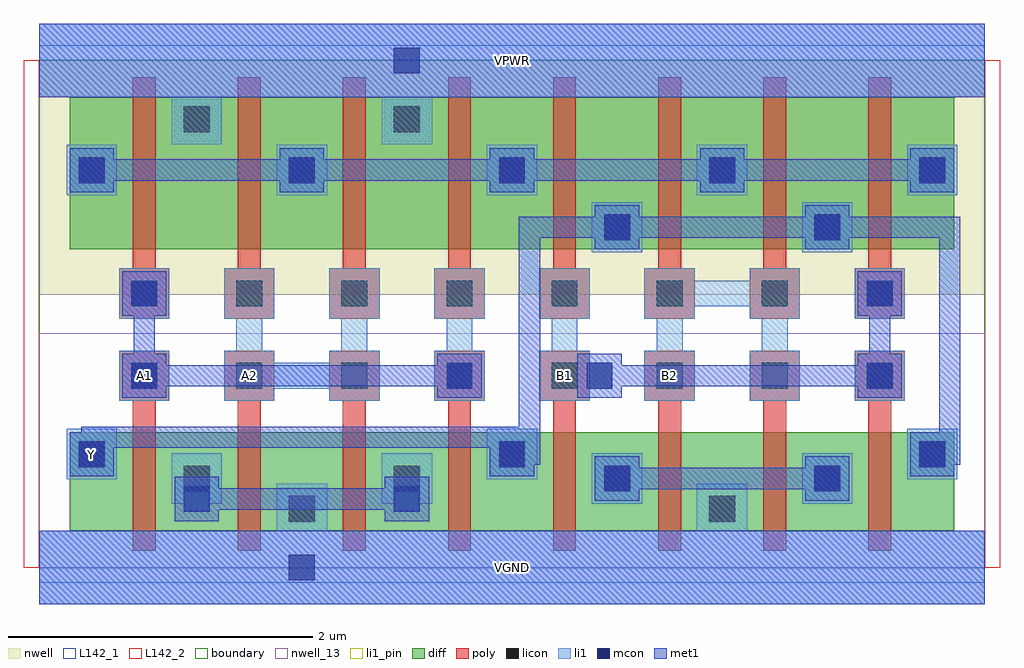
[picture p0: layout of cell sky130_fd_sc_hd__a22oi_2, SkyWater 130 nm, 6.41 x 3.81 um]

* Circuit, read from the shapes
.subckt sky130_fd_sc_hd__a22oi_2 A1 A2 B1 B2 VGND VPWR Y
XM1 n1 A1 Y VSUBS sky130_fd_pr__nfet_01v8 w=0.65 l=0.15 m=2
XM2 VGND A2 n1 VSUBS sky130_fd_pr__nfet_01v8 w=0.65 l=0.15 m=2
XM3 n2 B1 Y VSUBS sky130_fd_pr__nfet_01v8 w=0.65 l=0.15 m=2
XM4 VGND B2 n2 VSUBS sky130_fd_pr__nfet_01v8 w=0.65 l=0.15 m=2
XM5 VPWR A1 n3 n4 sky130_fd_pr__pfet_01v8 w=1 l=0.15 m=2
XM6 n3 A2 VPWR n4 sky130_fd_pr__pfet_01v8 w=1 l=0.15 m=2
XM7 Y B1 n3 n4 sky130_fd_pr__pfet_01v8 w=1 l=0.15 m=2
XM8 n3 B2 Y n4 sky130_fd_pr__pfet_01v8 w=1 l=0.15 m=2
.ends

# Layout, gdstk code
import gdstk
lib = gdstk.Library(unit=1e-6, precision=1e-09)
def R(c, l, rs):  # rectangles x0, y0, x1, y1
    for r in rs: c.add(gdstk.rectangle(r[:2], r[2:], *l))
def A(c, l, x, y, w, h, nx, ny, dx, dy):  # array of equal rectangles
    R(c, l, [(x+i*dx, y+j*dy, x+i*dx+w, y+j*dy+h) for i in range(nx) for j in range(ny)])
def P(c, l, *ps):  # polygons
    for p in ps: c.add(gdstk.Polygon(p, *l))
nwell_13 = (64, 13)
nwell = (64, 20)
diff = (65, 20)
poly = (66, 20)
licon = (66, 44)
li1_pin = (67, 16)
li1 = (67, 20)
mcon = (67, 44)
met1 = (68, 20)
L142_1 = (142, 1)
L142_2 = (142, 2)
boundary = (235, 4)

sky130_fd_sc_hd__a22oi_2 = lib.new_cell('sky130_fd_sc_hd__a22oi_2')
R(sky130_fd_sc_hd__a22oi_2, nwell_13, [(0,0,6.21,1.54)])
R(sky130_fd_sc_hd__a22oi_2, nwell, [(0,1.79,6.21,3.33)])
A(sky130_fd_sc_hd__a22oi_2, diff, 0.615, 0.24, 0.69, 0.65, 7, 1, 0.69, 0)
A(sky130_fd_sc_hd__a22oi_2, diff, 0.615, 2.09, 0.69, 1, 7, 1, 0.69, 0)
R(sky130_fd_sc_hd__a22oi_2, diff, [(0.2,0.24,6.01,0.89), (0.2,0.24,0.615,0.89), (5.445,0.24,6.01,0.89), (0.2,2.09,6.01,3.09), (0.2,2.09,0.615,3.09), (5.445,2.09,6.01,3.09)])
P(sky130_fd_sc_hd__a22oi_2, poly, [(4.065,0.11),(4.065,1.095),(3.975,1.095),(3.975,1.425),(4.305,1.425),(4.305,1.095),(4.215,1.095),(4.215,0.11)],
  [(4.755,0.11),(4.755,1.095),(4.665,1.095),(4.665,1.425),(4.995,1.425),(4.995,1.095),(4.905,1.095),(4.905,0.11)],
  [(3.975,1.635),(3.975,1.965),(4.065,1.965),(4.065,3.22),(4.215,3.22),(4.215,1.965),(4.305,1.965),(4.305,1.635)],
  [(4.665,1.635),(4.665,1.965),(4.755,1.965),(4.755,3.22),(4.905,3.22),(4.905,1.965),(4.995,1.965),(4.995,1.635)],
  [(1.305,0.11),(1.305,1.095),(1.215,1.095),(1.215,1.425),(1.545,1.425),(1.545,1.095),(1.455,1.095),(1.455,0.11)],
  [(1.995,0.11),(1.995,1.095),(1.905,1.095),(1.905,1.425),(2.235,1.425),(2.235,1.095),(2.145,1.095),(2.145,0.11)],
  [(1.215,1.635),(1.215,1.965),(1.305,1.965),(1.305,3.22),(1.455,3.22),(1.455,1.965),(1.545,1.965),(1.545,1.635)],
  [(1.905,1.635),(1.905,1.965),(1.995,1.965),(1.995,3.22),(2.145,3.22),(2.145,1.965),(2.235,1.965),(2.235,1.635)],
  [(0.615,0.11),(0.615,1.095),(0.525,1.095),(0.525,1.425),(0.855,1.425),(0.855,1.095),(0.765,1.095),(0.765,0.11)],
  [(2.685,0.11),(2.685,1.095),(2.595,1.095),(2.595,1.425),(2.925,1.425),(2.925,1.095),(2.835,1.095),(2.835,0.11)],
  [(0.525,1.635),(0.525,1.965),(0.615,1.965),(0.615,3.22),(0.765,3.22),(0.765,1.965),(0.855,1.965),(0.855,1.635)],
  [(2.595,1.635),(2.595,1.965),(2.685,1.965),(2.685,3.22),(2.835,3.22),(2.835,1.965),(2.925,1.965),(2.925,1.635)],
  [(3.375,0.11),(3.375,1.095),(3.285,1.095),(3.285,1.425),(3.615,1.425),(3.615,1.095),(3.525,1.095),(3.525,0.11)],
  [(5.445,0.11),(5.445,1.095),(5.355,1.095),(5.355,1.425),(5.685,1.425),(5.685,1.095),(5.595,1.095),(5.595,0.11)],
  [(3.285,1.635),(3.285,1.965),(3.375,1.965),(3.375,3.22),(3.525,3.22),(3.525,1.965),(3.615,1.965),(3.615,1.635)],
  [(5.355,1.635),(5.355,1.965),(5.445,1.965),(5.445,3.22),(5.595,3.22),(5.595,1.965),(5.685,1.965),(5.685,1.635)])
A(sky130_fd_sc_hd__a22oi_2, licon, 0.95, 0.5, 0.17, 0.17, 4, 1, 1.38, 0)
A(sky130_fd_sc_hd__a22oi_2, licon, 0.26, 0.66, 0.17, 0.17, 3, 1, 2.76, 0)
A(sky130_fd_sc_hd__a22oi_2, licon, 0.605, 1.175, 0.17, 0.17, 8, 2, 0.69, 0.54)
A(sky130_fd_sc_hd__a22oi_2, licon, 0.26, 2.525, 0.17, 0.17, 5, 1, 1.38, 0)
R(sky130_fd_sc_hd__a22oi_2, licon, [(1.64,0.3,1.81,0.47), (4.4,0.3,4.57,0.47), (3.71,2.15,3.88,2.32), (5.09,2.15,5.26,2.32), (0.95,2.86,1.12,3.03), (2.33,2.86,2.5,3.03)])
R(sky130_fd_sc_hd__a22oi_2, li1_pin, [(0,-0.24,6.21,0.24), (0.18,0.58,0.51,0.91), (0.525,1.095,0.855,1.425), (0,3.09,6.21,3.57)])
P(sky130_fd_sc_hd__a22oi_2, li1_pin, [(1.215,1.095),(1.215,1.425),(1.295,1.425),(1.295,1.635),(1.215,1.635),(1.215,1.965),(1.545,1.965),(1.545,1.635),(1.465,1.635),(1.465,1.425),(1.545,1.425),(1.545,1.345),(1.905,1.345),(1.905,1.425),(1.985,1.425),(1.985,1.635),(1.905,1.635),(1.905,1.965),(2.235,1.965),(2.235,1.635),(2.155,1.635),(2.155,1.425),(2.235,1.425),(2.235,1.095),(1.905,1.095),(1.905,1.175),(1.545,1.175),(1.545,1.095)],
  [(3.285,1.095),(3.285,1.425),(3.365,1.425),(3.365,1.635),(3.285,1.635),(3.285,1.965),(3.615,1.965),(3.615,1.635),(3.535,1.635),(3.535,1.425),(3.615,1.425),(3.615,1.345),(3.765,1.345),(3.765,1.175),(3.615,1.175),(3.615,1.095)],
  [(3.975,1.095),(3.975,1.425),(4.055,1.425),(4.055,1.635),(3.975,1.635),(3.975,1.965),(4.305,1.965),(4.305,1.885),(4.665,1.885),(4.665,1.965),(4.995,1.965),(4.995,1.635),(4.915,1.635),(4.915,1.425),(4.995,1.425),(4.995,1.095),(4.665,1.095),(4.665,1.425),(4.745,1.425),(4.745,1.635),(4.665,1.635),(4.665,1.715),(4.305,1.715),(4.305,1.635),(4.225,1.635),(4.225,1.425),(4.305,1.425),(4.305,1.095)])
A(sky130_fd_sc_hd__a22oi_2, li1, 0.18, 0.58, 0.33, 0.33, 3, 1, 2.76, 0)
A(sky130_fd_sc_hd__a22oi_2, li1, 0.18, 2.445, 0.33, 0.33, 5, 1, 1.38, 0)
R(sky130_fd_sc_hd__a22oi_2, li1, [(3.63,0.42,3.96,0.75), (5.01,0.42,5.34,0.75), (0.525,1.095,0.855,1.425), (5.355,1.095,5.685,1.425), (0.525,1.635,0.855,1.965), (5.355,1.635,5.685,1.965), (3.63,2.07,3.96,2.4), (5.01,2.07,5.34,2.4)])
P(sky130_fd_sc_hd__a22oi_2, li1, [(3.975,1.095),(3.975,1.425),(4.055,1.425),(4.055,1.635),(3.975,1.635),(3.975,1.965),(4.305,1.965),(4.305,1.885),(4.665,1.885),(4.665,1.965),(4.995,1.965),(4.995,1.635),(4.915,1.635),(4.915,1.425),(4.995,1.425),(4.995,1.095),(4.665,1.095),(4.665,1.425),(4.745,1.425),(4.745,1.635),(4.665,1.635),(4.665,1.715),(4.305,1.715),(4.305,1.635),(4.225,1.635),(4.225,1.425),(4.305,1.425),(4.305,1.095)],
  [(1.215,1.095),(1.215,1.425),(1.295,1.425),(1.295,1.635),(1.215,1.635),(1.215,1.965),(1.545,1.965),(1.545,1.635),(1.465,1.635),(1.465,1.425),(1.545,1.425),(1.545,1.345),(1.905,1.345),(1.905,1.425),(1.985,1.425),(1.985,1.635),(1.905,1.635),(1.905,1.965),(2.235,1.965),(2.235,1.635),(2.155,1.635),(2.155,1.425),(2.235,1.425),(2.235,1.095),(1.905,1.095),(1.905,1.175),(1.545,1.175),(1.545,1.095)],
  [(0.87,2.78),(0.87,3.09),(0,3.09),(0,3.57),(6.21,3.57),(6.21,3.09),(2.58,3.09),(2.58,2.78),(2.25,2.78),(2.25,3.09),(1.2,3.09),(1.2,2.78)],
  [(2.595,1.095),(2.595,1.425),(2.675,1.425),(2.675,1.635),(2.595,1.635),(2.595,1.965),(2.925,1.965),(2.925,1.635),(2.845,1.635),(2.845,1.425),(2.925,1.425),(2.925,1.095)],
  [(0.95,0.365),(0.95,0.42),(0.87,0.42),(0.87,0.75),(1.2,0.75),(1.2,0.42),(1.12,0.42),(1.12,0.365)],
  [(2.33,0.365),(2.33,0.42),(2.25,0.42),(2.25,0.75),(2.58,0.75),(2.58,0.42),(2.5,0.42),(2.5,0.365)],
  [(0,-0.24),(0,0.24),(1.56,0.24),(1.56,0.55),(1.89,0.55),(1.89,0.24),(4.32,0.24),(4.32,0.55),(4.65,0.55),(4.65,0.24),(6.21,0.24),(6.21,-0.24)],
  [(3.285,1.095),(3.285,1.425),(3.365,1.425),(3.365,1.635),(3.285,1.635),(3.285,1.965),(3.615,1.965),(3.615,1.635),(3.535,1.635),(3.535,1.425),(3.615,1.425),(3.615,1.345),(3.765,1.345),(3.765,1.175),(3.615,1.175),(3.615,1.095)])
A(sky130_fd_sc_hd__a22oi_2, mcon, 0.26, 0.66, 0.17, 0.17, 3, 1, 2.76, 0)
A(sky130_fd_sc_hd__a22oi_2, mcon, 0.26, 2.525, 0.17, 0.17, 5, 1, 1.38, 0)
R(sky130_fd_sc_hd__a22oi_2, mcon, [(1.64,-0.085,1.81,0.085), (0.95,0.365,1.12,0.535), (2.33,0.365,2.5,0.535), (3.71,0.5,3.88,0.67), (5.09,0.5,5.26,0.67), (0.605,1.175,0.775,1.345), (2.675,1.175,2.845,1.345), (3.595,1.175,3.765,1.345), (5.435,1.175,5.605,1.345), (0.605,1.715,0.775,1.885), (5.435,1.715,5.605,1.885), (3.71,2.15,3.88,2.32), (5.09,2.15,5.26,2.32), (2.33,3.245,2.5,3.415)])
R(sky130_fd_sc_hd__a22oi_2, met1, [(0,-0.24,6.21,0.24), (0,3.09,6.21,3.57)])
P(sky130_fd_sc_hd__a22oi_2, met1, [(0.2,0.6),(0.2,0.89),(0.275,0.89),(0.275,0.925),(3.15,0.925),(3.15,2.305),(3.65,2.305),(3.65,2.38),(3.94,2.38),(3.94,2.305),(5.03,2.305),(5.03,2.38),(5.32,2.38),(5.32,2.305),(6.05,2.305),(6.05,0.675),(6.01,0.675),(6.01,0.6),(5.72,0.6),(5.72,0.89),(5.91,0.89),(5.91,2.165),(5.32,2.165),(5.32,2.09),(5.03,2.09),(5.03,2.165),(3.94,2.165),(3.94,2.09),(3.65,2.09),(3.65,2.165),(3.29,2.165),(3.29,0.675),(3.25,0.675),(3.25,0.6),(2.96,0.6),(2.96,0.785),(0.49,0.785),(0.49,0.6)],
  [(0.545,1.115),(0.545,1.405),(0.62,1.405),(0.62,1.655),(0.545,1.655),(0.545,1.945),(0.835,1.945),(0.835,1.655),(0.76,1.655),(0.76,1.405),(0.835,1.405),(0.835,1.33),(2.615,1.33),(2.615,1.405),(2.905,1.405),(2.905,1.115),(2.615,1.115),(2.615,1.19),(0.835,1.19),(0.835,1.115)],
  [(0.89,0.305),(0.89,0.595),(1.18,0.595),(1.18,0.52),(2.27,0.52),(2.27,0.595),(2.56,0.595),(2.56,0.305),(2.27,0.305),(2.27,0.38),(1.18,0.38),(1.18,0.305)],
  [(0.2,2.465),(0.2,2.755),(0.49,2.755),(0.49,2.68),(1.58,2.68),(1.58,2.755),(1.87,2.755),(1.87,2.68),(2.96,2.68),(2.96,2.755),(3.25,2.755),(3.25,2.68),(4.34,2.68),(4.34,2.755),(4.63,2.755),(4.63,2.68),(5.72,2.68),(5.72,2.755),(6.01,2.755),(6.01,2.465),(5.72,2.465),(5.72,2.54),(4.63,2.54),(4.63,2.465),(4.34,2.465),(4.34,2.54),(3.25,2.54),(3.25,2.465),(2.96,2.465),(2.96,2.54),(1.87,2.54),(1.87,2.465),(1.58,2.465),(1.58,2.54),(0.49,2.54),(0.49,2.465)],
  [(3.65,0.44),(3.65,0.73),(3.94,0.73),(3.94,0.655),(5.03,0.655),(5.03,0.73),(5.32,0.73),(5.32,0.44),(5.03,0.44),(5.03,0.515),(3.94,0.515),(3.94,0.44)],
  [(3.535,1.115),(3.535,1.405),(3.825,1.405),(3.825,1.33),(5.375,1.33),(5.375,1.405),(5.45,1.405),(5.45,1.655),(5.375,1.655),(5.375,1.945),(5.665,1.945),(5.665,1.655),(5.59,1.655),(5.59,1.405),(5.665,1.405),(5.665,1.115),(5.375,1.115),(5.375,1.19),(3.825,1.19),(3.825,1.115)])
R(sky130_fd_sc_hd__a22oi_2, L142_1, [(0,-0.1,6.21,0), (0,3.33,6.21,3.43)])
R(sky130_fd_sc_hd__a22oi_2, L142_2, [(-0.1,0,0,3.33), (6.21,0,6.31,3.33)])
R(sky130_fd_sc_hd__a22oi_2, boundary, [(0,0,6.21,3.33)])
sky130_fd_sc_hd__a22oi_2.add(gdstk.Label('Y', (0.345,0.745), layer=67, texttype=5))
sky130_fd_sc_hd__a22oi_2.add(gdstk.Label('A2', (1.38,1.26), layer=67, texttype=5))
sky130_fd_sc_hd__a22oi_2.add(gdstk.Label('A1', (0.69,1.26), layer=67, texttype=5))
sky130_fd_sc_hd__a22oi_2.add(gdstk.Label('B1', (3.45,1.26), layer=67, texttype=5))
sky130_fd_sc_hd__a22oi_2.add(gdstk.Label('B2', (4.14,1.26), layer=67, texttype=5))
sky130_fd_sc_hd__a22oi_2.add(gdstk.Label('VGND', (3.105,0), layer=67, texttype=5))
sky130_fd_sc_hd__a22oi_2.add(gdstk.Label('VPWR', (3.105,3.33), layer=67, texttype=5))
sky130_fd_sc_hd__a22oi_2.add(gdstk.Label('VGND', (3.105,0), layer=68, texttype=5))
sky130_fd_sc_hd__a22oi_2.add(gdstk.Label('VPWR', (3.105,3.33), layer=68, texttype=5))

lib.write_gds('sky130_fd_sc_hd__a22oi_2.gds')
